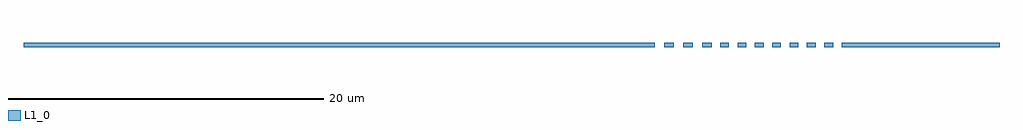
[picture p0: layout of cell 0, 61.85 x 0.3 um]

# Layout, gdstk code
import gdstk
lib = gdstk.Library(unit=1e-6, precision=1e-09)
def R(c, l, rs):  # rectangles x0, y0, x1, y1
    for r in rs: c.add(gdstk.rectangle(r[:2], r[2:], *l))
def A(c, l, x, y, w, h, nx, ny, dx, dy):  # array of equal rectangles
    R(c, l, [(x+i*dx, y+j*dy, x+i*dx+w, y+j*dy+h) for i in range(nx) for j in range(ny)])
L1_0 = (1, 0)

c_0 = lib.new_cell('0')
A(c_0, L1_0, 11.925, -0.15, 0.6, 0.3, 3, 1, 1.2, 0)
A(c_0, L1_0, 15.475, -0.15, 0.55, 0.3, 7, 1, 1.1, 0)
R(c_0, L1_0, [(-28.675,-0.15,11.325,0.15), (23.175,-0.15,33.175,0.15)])

lib.write_gds('0.gds')
